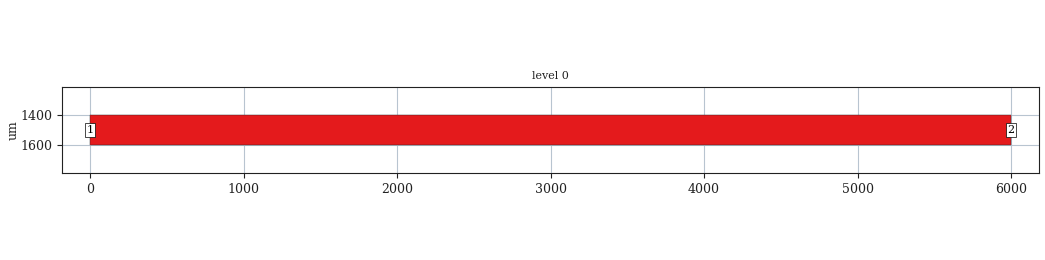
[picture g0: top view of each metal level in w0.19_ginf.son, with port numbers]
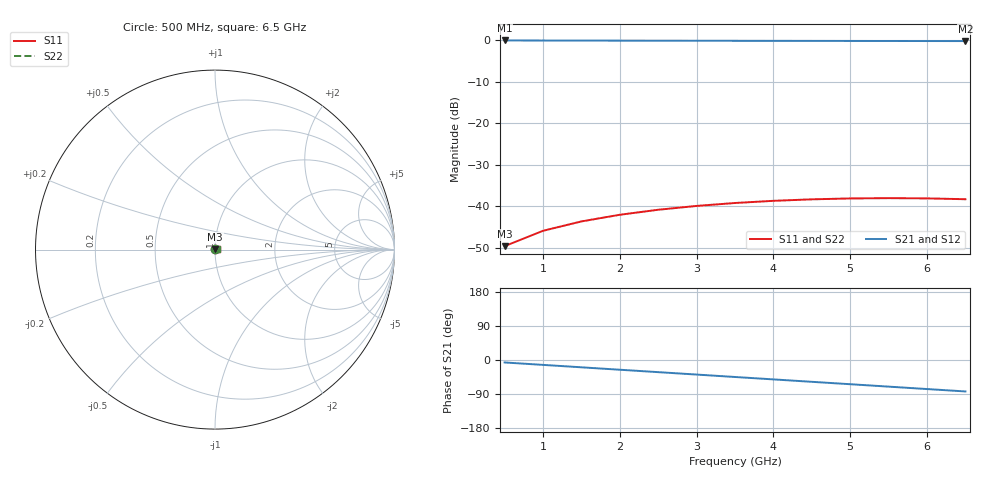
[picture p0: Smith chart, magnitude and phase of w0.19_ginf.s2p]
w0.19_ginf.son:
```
FTYP SONPROJ 1 ! Sonnet Project File
VER 19.54
HEADER
END HEADER
DIM
FREQ GHZ
IND NH
LNG UM
ANG DEG
CON /OH
CAP PF
RES OH
END DIM
FREQ
SWEEP 0.5 6.5 0.5
END FREQ
CONTROL
STD
OPTIONS  -d
SPEED 0
END CONTROL
GEO
TMET "Lossless" 0 SUP 0 0 0 0
BMET "Lossless" 0 SUP 0 0 0 0
MET "Cu35" 1 NOR 5.8e7 0 35
BOX 1 6000.0 3000.0 600 300 20 0
      1000.0 1 1 0 0 0 0 "Air"
      99.4 4.1000 1 0.0200 0 0 0 "PP3313"
POR1 STD
POLY 1 1
3
1 50 0 0 0 0.0 1500.0
POR1 STD
POLY 1 1
1
2 50 0 0 0 6000.0 1500.0
NUM 1
0 5 0 N 1 1 1 100 100 0 0 0 Y
0.0 1400.0
6000.0 1400.0
6000.0 1600.0
0.0 1600.0
0.0 1400.0
END
END GEO
FILEOUT
TS D Y $BASENAME.s2p 15 S RI R 50.00000
END FILEOUT
```
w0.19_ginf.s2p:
! Sonnet Data File
! From: em Version : 19.54.2026
! From Project: w0.19_ginf
! Data is De-embedded
! Data File Written: 11/09/2026 23:35:02
!< HDATE 11/09/2026 23:34:54
!< MDATE 11/09/2026 23:34:54
# GHZ S RI R 50.00000
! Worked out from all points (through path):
!   13 points, 500 MHz to 6.5 GHz, reference 50 ohm
!   highest |S21| = -0.03 dB at 500 MHz (marker M1); lowest = -0.2 dB at 6.5 GHz (marker M2)
!   group delay of S21, straight-line fit = 35.4 ps
!   lowest |S11| = -49.6 dB at 500 MHz (marker M3), VSWR 1.01, Z = 50.1 + j0.299 ohm
!   |S11| at or under -10 dB: start of sweep to end of sweep
!   |S22| runs from -49.6 to -38.1 dB; largest |S21 - S12| = 1.5e-12
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0.5  0.0014 0.00298  0.9906 -0.1125  0.9906 -0.1125  0.0014 0.00298
1  0.00204 0.00462  0.97 -0.2219  0.97 -0.2219  0.00204 0.00462
1.5  0.00277 0.00594  0.9377 -0.3281  0.9377 -0.3281  0.00277 0.00594
2  0.00363 0.00699  0.894 -0.4297  0.894 -0.4297  0.00363 0.00699
2.5  0.00463 0.00779  0.8394 -0.5256  0.8394 -0.5256  0.00463 0.00779
3.5  0.00681 0.00855  0.7006 -0.696  0.7006 -0.696  0.00681 0.00855
4.5  0.00889 0.0082  0.5285 -0.8311  0.5285 -0.8311  0.00889 0.0082
5  0.00975 0.00766  0.4325 -0.8834  0.4325 -0.8834  0.00975 0.00766
5.5  0.0104 0.00692  0.3315 -0.9246  0.3315 -0.9246  0.0104 0.00692
6  0.0109 0.00602  0.2268 -0.9544  0.2268 -0.9544  0.0109 0.00602
6.5  0.011 0.00504  0.1196 -0.9724  0.1196 -0.9724  0.011 0.00504
